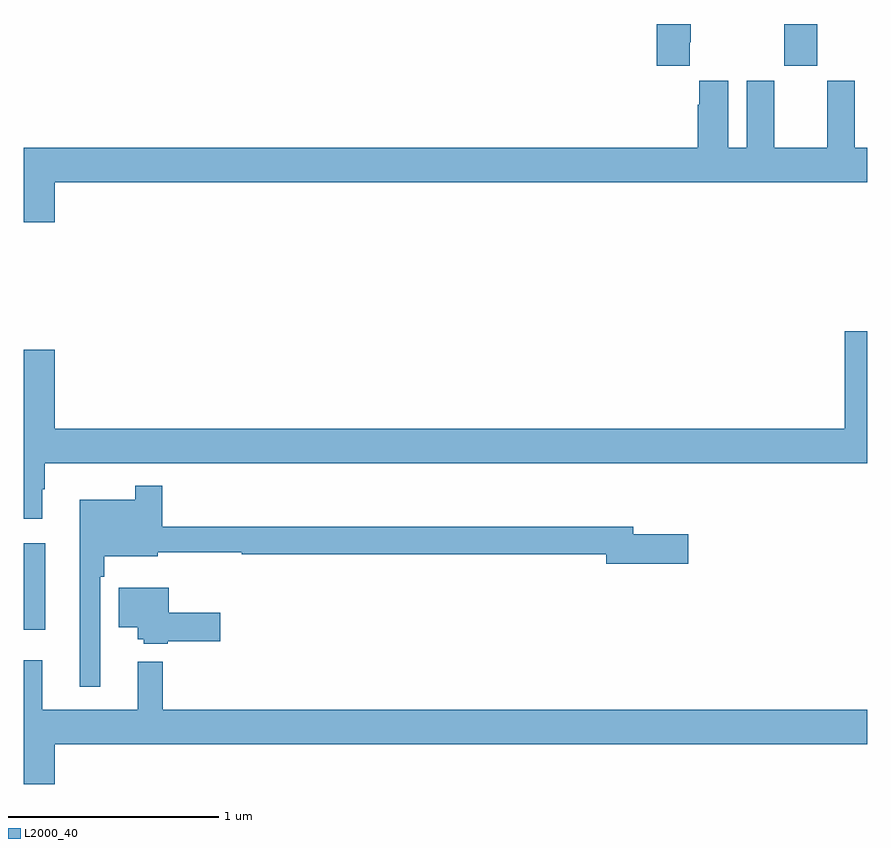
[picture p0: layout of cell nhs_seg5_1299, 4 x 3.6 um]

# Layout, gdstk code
import gdstk
lib = gdstk.Library(unit=1e-6, precision=1e-09)
def R(c, l, rs):  # rectangles x0, y0, x1, y1
    for r in rs: c.add(gdstk.rectangle(r[:2], r[2:], *l))
def P(c, l, *ps):  # polygons
    for p in ps: c.add(gdstk.Polygon(p, *l))
L2000_40 = (2000, 40)

nhs_seg5_1299 = lib.new_cell('nhs_seg5_1299')
R(nhs_seg5_1299, L2000_40, [(189,899.927,189.103,900.337), (192.607,902.601,192.762,902.799)])
P(nhs_seg5_1299, L2000_40, [(192.157,902.713),(192.162,902.713),(192.162,902.799),(192.002,902.799),(192.002,902.601),(192.157,902.601)],
  [(189.148,902.048),(193,902.048),(193,902.212),(192.94,902.212),(192.94,902.53),(192.809,902.53),(192.809,902.212),(192.559,902.212),(192.559,902.53),(192.428,902.53),(192.428,902.212),(192.34,902.212),(192.34,902.53),(192.203,902.53),(192.203,902.417),(192.197,902.417),(192.197,902.212),(189,902.212),(189,901.86),(189.148,901.86)],
  [(189.088,900.593),(189.1,900.593),(189.1,900.716),(193,900.716),(193,901.342),(192.893,901.342),(192.893,900.88),(189.148,900.88),(189.148,901.255),(189,901.255),(189,900.453),(189.088,900.453)],
  [(189.363,900.179),(189.383,900.179),(189.383,900.275),(189.637,900.275),(189.637,900.294),(190.033,900.294),(190.033,900.286),(191.762,900.286),(191.762,900.239),(192.151,900.239),(192.151,900.381),(191.89,900.381),(191.89,900.415),(189.656,900.415),(189.656,900.61),(189.528,900.61),(189.528,900.544),(189.266,900.544),(189.266,899.658),(189.363,899.658)],
  [(189.684,899.872),(189.931,899.872),(189.931,900.009),(189.688,900.009),(189.688,900.127),(189.452,900.127),(189.452,899.939),(189.542,899.939),(189.542,899.883),(189.57,899.883),(189.57,899.861),(189.684,899.861)],
  [(189.148,899.384),(193,899.384),(193,899.548),(189.659,899.548),(189.659,899.776),(189.542,899.776),(189.542,899.548),(189.089,899.548),(189.089,899.782),(189,899.782),(189,899.196),(189.148,899.196)])

lib.write_gds('nhs_seg5_1299.gds')
